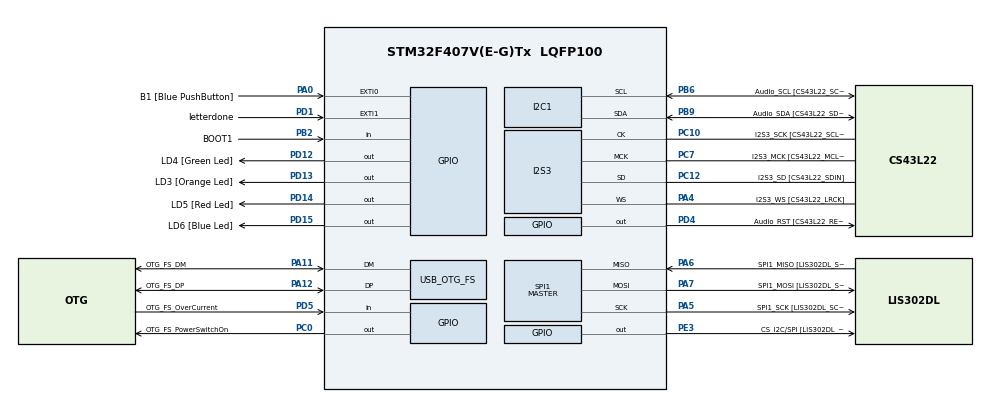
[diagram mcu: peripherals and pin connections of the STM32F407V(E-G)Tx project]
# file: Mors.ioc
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I2S3.AudioFreq-Half_Duplex_Master=I2S_AUDIOFREQ_96K
I2S3.ErrorAudioFreq=-2.34 %
I2S3.ErrorAudioFreq-Half_Duplex_Master=0.8 %
I2S3.FullDuplexMode=I2S_FULLDUPLEXMODE_DISABLE
I2S3.Instance=SPI$Index
I2S3.RealAudioFreq=93.75 KHz
I2S3.RealAudioFreq-Half_Duplex_Master=96.774 KHz
I2S3.VirtualMode=I2S_MODE_MASTER
Mcu.Family=STM32F4
Mcu.Name=STM32F407V(E-G)Tx
Mcu.Package=LQFP100
NVIC.EXTI0_IRQn=true\:0\:0\:false\:false\:true\:true\:true\:true
NVIC.EXTI1_IRQn=true\:0\:0\:false\:false\:true\:true\:true\:true
NVIC.OTG_FS_IRQn=true\:0\:0\:false\:false\:true\:true\:true\:true
NVIC.PriorityGroup=NVIC_PRIORITYGROUP_0
NVIC.TIM6_DAC_IRQn=true\:0\:0\:false\:false\:true\:true\:true\:true
PA0-WKUP.GPIO_Label=B1 [Blue PushButton]
PA0-WKUP.GPIO_ModeDefaultEXTI=GPIO_MODE_IT_RISING_FALLING
PA0-WKUP.GPIO_PuPd=GPIO_NOPULL
PA0-WKUP.Signal=GPXTI0
PA10.GPIO_Label=OTG_FS_ID
PA10.GPIO_Mode=GPIO_MODE_AF_PP
PA10.GPIO_PuPd=GPIO_NOPULL
PA10.GPIO_Speed=GPIO_SPEED_FREQ_LOW
PA10.Signal=USB_OTG_FS_ID
PA11.GPIO_Label=OTG_FS_DM
PA11.GPIO_Mode=GPIO_MODE_AF_PP
PA11.GPIO_PuPd=GPIO_NOPULL
PA11.GPIO_Speed=GPIO_SPEED_FREQ_LOW
PA11.Mode=Device_Only
PA11.Signal=USB_OTG_FS_DM
PA12.GPIO_Label=OTG_FS_DP
PA12.GPIO_Mode=GPIO_MODE_AF_PP
PA12.GPIO_PuPd=GPIO_NOPULL
PA12.GPIO_Speed=GPIO_SPEED_FREQ_LOW
PA12.Mode=Device_Only
PA12.Signal=USB_OTG_FS_DP
PA13.GPIO_Label=SWDIO
PA13.Mode=Serial_Wire
PA13.Signal=SYS_JTMS-SWDIO
PA14.GPIO_Label=SWCLK
PA14.Mode=Serial_Wire
PA14.Signal=SYS_JTCK-SWCLK
PA4.GPIO_Label=I2S3_WS [CS43L22_LRCK]
PA4.GPIO_Mode=GPIO_MODE_AF_PP
PA4.GPIO_PuPd=GPIO_NOPULL
PA4.GPIO_Speed=GPIO_SPEED_FREQ_LOW
PA4.Mode=Half_Duplex_Master
PA4.Signal=I2S3_WS
PA5.GPIO_Label=SPI1_SCK [LIS302DL_SCL/SPC]
PA5.GPIO_Mode=GPIO_MODE_AF_PP
PA5.GPIO_PuPd=GPIO_NOPULL
PA5.GPIO_Speed=GPIO_SPEED_FREQ_LOW
PA5.Mode=Full_Duplex_Master
PA5.Signal=SPI1_SCK
PA6.GPIO_Label=SPI1_MISO [LIS302DL_SDO]
PA6.GPIO_Mode=GPIO_MODE_AF_PP
PA6.GPIO_PuPd=GPIO_NOPULL
PA6.GPIO_Speed=GPIO_SPEED_FREQ_LOW
PA6.Mode=Full_Duplex_Master
PA6.Signal=SPI1_MISO
PA7.GPIO_Label=SPI1_MOSI [LIS302DL_SDA/SDI/SDO]
PA7.GPIO_Mode=GPIO_MODE_AF_PP
PA7.GPIO_PuPd=GPIO_NOPULL
PA7.GPIO_Speed=GPIO_SPEED_FREQ_LOW
PA7.Mode=Full_Duplex_Master
PA7.Signal=SPI1_MOSI
PA9.GPIO_Label=VBUS_FS
PA9.GPIO_Mode=GPIO_MODE_INPUT
PA9.GPIO_PuPd=GPIO_NOPULL
PA9.Signal=USB_OTG_FS_VBUS
PB10.GPIO_Label=CLK_IN [MP45DT02_CLK]
PB10.GPIO_Mode=GPIO_MODE_AF_PP
PB10.GPIO_PuPd=GPIO_NOPULL
PB10.GPIO_Speed=GPIO_SPEED_FREQ_LOW
PB10.Signal=I2S2_CK
PB2.GPIO_Label=BOOT1
PB2.GPIO_Mode=GPIO_MODE_INPUT
PB2.GPIO_PuPd=GPIO_NOPULL
PB2.Signal=GPIO_Input
PB3.GPIO_Label=SWO
PB3.Signal=SYS_JTDO-SWO
PB6.GPIO_Label=Audio_SCL [CS43L22_SCL]
PB6.GPIO_Mode=GPIO_MODE_AF_OD
PB6.GPIO_Pu=GPIO_PULLUP
PB6.GPIO_PuPd=GPIO_NOPULL
PB6.GPIO_Speed=GPIO_SPEED_FREQ_LOW
PB6.Mode=I2C
PB6.Signal=I2C1_SCL
PB9.GPIO_Label=Audio_SDA [CS43L22_SDA]
PB9.GPIO_Mode=GPIO_MODE_AF_OD
PB9.GPIO_Pu=GPIO_PULLUP
PB9.GPIO_PuPd=GPIO_NOPULL
PB9.GPIO_Speed=GPIO_SPEED_FREQ_LOW
PB9.Mode=I2C
PB9.Signal=I2C1_SDA
PC0.GPIO_Label=OTG_FS_PowerSwitchOn
PC0.GPIO_PuPd=GPIO_NOPULL
PC0.GPIO_Speed=GPIO_SPEED_FREQ_LOW
PC0.PinState=GPIO_PIN_SET
PC0.Signal=GPIO_Output
PC10.GPIO_Label=I2S3_SCK [CS43L22_SCLK]
PC10.GPIO_Mode=GPIO_MODE_AF_PP
PC10.GPIO_PuPd=GPIO_NOPULL
PC10.GPIO_Speed=GPIO_SPEED_FREQ_LOW
PC10.Mode=Half_Duplex_Master
PC10.Signal=I2S3_CK
PC12.GPIO_Label=I2S3_SD [CS43L22_SDIN]
PC12.GPIO_Mode=GPIO_MODE_AF_PP
PC12.GPIO_PuPd=GPIO_NOPULL
PC12.GPIO_Speed=GPIO_SPEED_FREQ_LOW
PC12.Mode=Half_Duplex_Master
PC12.Signal=I2S3_SD
PC14-OSC32_IN.GPIO_Label=PC14-OSC32_IN
PC14-OSC32_IN.Mode=LSE-External-Oscillator
PC14-OSC32_IN.Signal=RCC_OSC32_IN
PC15-OSC32_OUT.GPIO_Label=PC15-OSC32_OUT
PC15-OSC32_OUT.Mode=LSE-External-Oscillator
PC15-OSC32_OUT.Signal=RCC_OSC32_OUT
PC3.GPIO_Label=PDM_OUT [MP45DT02_DOUT]
PC3.GPIO_Mode=GPIO_MODE_AF_PP
PC3.GPIO_PuPd=GPIO_NOPULL
PC3.GPIO_Speed=GPIO_SPEED_FREQ_LOW
PC3.Signal=I2S2_SD
PC7.GPIO_Label=I2S3_MCK [CS43L22_MCLK]
PC7.GPIO_Mode=GPIO_MODE_AF_PP
PC7.GPIO_PuPd=GPIO_NOPULL
PC7.GPIO_Speed=GPIO_SPEED_FREQ_LOW
PC7.Mode=Master_Clock_Activated
PC7.Signal=I2S3_MCK
PD1.GPIO_Label=letterdone
PD1.GPIO_ModeDefaultEXTI=GPIO_MODE_IT_RISING_FALLING
PD1.Signal=GPXTI1
PD12.GPIO_Label=LD4 [Green Led]
PD12.GPIO_PuPd=GPIO_NOPULL
PD12.GPIO_Speed=GPIO_SPEED_FREQ_LOW
PD12.Signal=GPIO_Output
PD13.GPIO_Label=LD3 [Orange Led]
PD13.GPIO_PuPd=GPIO_NOPULL
PD13.GPIO_Speed=GPIO_SPEED_FREQ_LOW
PD13.Signal=GPIO_Output
PD14.GPIO_Label=LD5 [Red Led]
PD14.GPIO_PuPd=GPIO_NOPULL
PD14.GPIO_Speed=GPIO_SPEED_FREQ_LOW
PD14.Signal=GPIO_Output
PD15.GPIO_Label=LD6 [Blue Led]
PD15.GPIO_PuPd=GPIO_NOPULL
PD15.GPIO_Speed=GPIO_SPEED_FREQ_LOW
PD15.Signal=GPIO_Output
PD4.GPIO_Label=Audio_RST [CS43L22_RESET]
PD4.GPIO_PuPd=GPIO_NOPULL
PD4.GPIO_Speed=GPIO_SPEED_FREQ_LOW
PD4.Signal=GPIO_Output
PD5.GPIO_Label=OTG_FS_OverCurrent
PD5.GPIO_Mode=GPIO_MODE_INPUT
PD5.GPIO_PuPd=GPIO_NOPULL
PD5.Signal=GPIO_Input
PE3.GPIO_Label=CS_I2C/SPI [LIS302DL_CS_I2C/SPI]
PE3.GPIO_PuPd=GPIO_NOPULL
PE3.GPIO_Speed=GPIO_SPEED_FREQ_LOW
PE3.Signal=GPIO_Output
PH0-OSC_IN.GPIO_Label=PH0-OSC_IN
PH0-OSC_IN.Mode=HSE-External-Oscillator
PH0-OSC_IN.Signal=RCC_OSC_IN
PH1-OSC_OUT.GPIO_Label=PH1-OSC_OUT
PH1-OSC_OUT.Mode=HSE-External-Oscillator
PH1-OSC_OUT.Signal=RCC_OSC_OUT
ProjectManager.HeapSize=0x200
ProjectManager.StackSize=0x400
ProjectManager.TargetToolchain=STM32CubeIDE
RCC.48MHZClocksFreq_Value=48000000
RCC.AHBFreq_Value=168000000
RCC.APB1CLKDivider=RCC_HCLK_DIV4
RCC.APB1Freq_Value=42000000
RCC.APB1TimFreq_Value=84000000
RCC.APB2CLKDivider=RCC_HCLK_DIV2
RCC.APB2Freq_Value=84000000
RCC.APB2TimFreq_Value=168000000
RCC.CortexFreq_Value=168000000
RCC.HCLKFreq_Value=168000000
RCC.HSE_VALUE=8000000
RCC.HSI_VALUE=16000000
RCC.PLLM=8
RCC.PLLN=336
RCC.PLLQ=7
RCC.SYSCLKFreq_VALUE=168000000
RCC.SYSCLKSource=RCC_SYSCLKSOURCE_PLLCLK
RCC.VCOOutputFreq_Value=336000000
SPI1.BaudRatePrescaler-Full_Duplex_Master=SPI_BAUDRATEPRESCALER_2
SPI1.CalculateBaudRate-Full_Duplex_Master=42.0 MBits/s
SPI1.Direction=SPI_DIRECTION_2LINES
SPI1.Mode=SPI_MODE_MASTER
SPI1.Mode-Full_Duplex_Master=SPI_MODE_MASTER
SPI1.VirtualType=VM_MASTER
TIM6.Period=650
TIM6.Prescaler=48000
TIM7.Period=17500
TIM7.Prescaler=47999
USB_DEVICE.CLASS_NAME_FS=CDC
USB_DEVICE.VirtualMode-CDC_FS=Cdc
USB_DEVICE.VirtualModeFS=Cdc_FS
USB_OTG_FS.VirtualMode=Device_Only
VP_TIM6_VS_ClockSourceINT.Mode=Enable_Timer
VP_TIM7_VS_ClockSourceINT.Mode=Enable_Timer
VP_USB_DEVICE_VS_USB_DEVICE_CDC_FS.Mode=CDC_FS
board=STM32F407G-DISC1

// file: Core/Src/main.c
/* USER CODE BEGIN Header */
/**
  ******************************************************************************
  * @file           : main.c
  * @brief          : Main program body
  ******************************************************************************
  * @attention
  *
  * Copyright (c) 2022 STMicroelectronics.
  * All rights reserved.
  *
  * This software is licensed under terms that can be found in the LICENSE file
  * in the root directory of this software component.
  * If no LICENSE file comes with this software, it is provided AS-IS.
  *
  ******************************************************************************
  */
/* USER CODE END Header */
#include "main.h"
#include "usb_device.h"

/* USER CODE BEGIN Includes */
#include "usbd_cdc_if.h"
#include <string.h>
/* USER CODE END Includes */

/* USER CODE BEGIN PD */
#define dot '.'
#define dash '_'
/* USER CODE END PD */

I2C_HandleTypeDef hi2c1;

I2S_HandleTypeDef hi2s3;

SPI_HandleTypeDef hspi1;

TIM_HandleTypeDef htim6;
TIM_HandleTypeDef htim7;

/* USER CODE BEGIN PV */
char *morscode[]={"_...",".","._..","__","._.","_",".__","_.__",".____","..___","...__","...._",".....","_....","__...","___..","____.","_____"};
char *symbols[]={"B","E","L","M","R","T","U","1","2","3","4","5","6","7","8","9","0"};
char number[6], number_save[6];
char *finished[1];
uint32_t press_time;
int press,bounce,done,start;
/* USER CODE END PV */

void SystemClock_Config(void);
static void MX_GPIO_Init(void);
static void MX_I2C1_Init(void);
static void MX_I2S3_Init(void);
static void MX_SPI1_Init(void);
static void MX_TIM6_Init(void);
static void MX_TIM7_Init(void);

/* USER CODE BEGIN 0 */
void delay(int unit)
{
	for(int x=0x3*unit*0xFDEAF;x!=0;x--){}
}
void decoder()
{
	if(number[0]!='\0')
		strcpy(number_save,number);
	for(int i=0;i<36;i++)
	{
		if(!strcmp(number,morscode[i]))
		{
			finished[0]=symbols[i];
		}
	}
}
void mors(uint32_t timer)
{
	if(200 < timer && timer < 500)
	{
		HAL_GPIO_WritePin(GPIOD, LD6_Pin,0);
		HAL_GPIO_WritePin(GPIOD, LD5_Pin,1);
		number[press]=dot;
		press++;
	}
	else if(499 < timer)
	{
		HAL_GPIO_WritePin(GPIOD, LD6_Pin,1);
		HAL_GPIO_WritePin(GPIOD, LD5_Pin,0);
		number[press]=dash;
		press++;
	}
}
void mors_blink()
{
	if((done||press==5)&&start)
	{
		CDC_Transmit_FS((uint8_t*)*finished, strlen(*finished));
		for(int i=0;i<5;i++)
			number[i]='\0';
		HAL_GPIO_WritePin(GPIOD, LD5_Pin,0);
		HAL_GPIO_WritePin(GPIOD, LD6_Pin,0);
		for(int i=0;number_save[i]!='\0';i++)
		{
			switch(number_save[i])
			{
			  	case dot:
		  	  			HAL_GPIO_WritePin(GPIOD, LD3_Pin, 1);
		  	  			delay(0x1);
			  	  		HAL_GPIO_WritePin(GPIOD, LD3_Pin, 0);
			  	  		delay(0x1);
			  	  		break;
			  	 case dash:
						  HAL_GPIO_WritePin(GPIOD, LD3_Pin, 1);
						  delay(0x3);
					      HAL_GPIO_WritePin(GPIOD, LD3_Pin, 0);
						  delay(0x3);
						  break;
			  	 default:
			  	  		 break;
			}
		}
		delay(0x1);
		press=0;
	}
	done=0;
}

/* USER CODE END 0 */

int main(void)
{
  /* USER CODE BEGIN 1 */
	press=0;
  /* USER CODE END 1 */

  /* MCU Configuration--------------------------------------------------------*/

  /* Reset of all peripherals, Initializes the Flash interface and the Systick. */
  HAL_Init();

  /* Configure the system clock */
  SystemClock_Config();

  /* Initialize all configured peripherals */
  MX_GPIO_Init();
  MX_I2C1_Init();
  MX_I2S3_Init();
  MX_SPI1_Init();
  MX_USB_DEVICE_Init();
  MX_TIM6_Init();
  MX_TIM7_Init();
  /* USER CODE BEGIN 2 */
  HAL_TIM_Base_Start(&htim7);
  /* USER CODE END 2 */

  /* Infinite loop */
  while (1)
  {

  }
}

void SystemClock_Config(void)
{
  RCC_OscInitTypeDef RCC_OscInitStruct = {0};
  RCC_ClkInitTypeDef RCC_ClkInitStruct = {0};

  /** Configure the main internal regulator output voltage

  RCC_OscInitStruct.OscillatorType = RCC_OSCILLATORTYPE_HSE;
  RCC_OscInitStruct.HSEState = RCC_HSE_ON;
  RCC_OscInitStruct.PLL.PLLState = RCC_PLL_ON;
  RCC_OscInitStruct.PLL.PLLSource = RCC_PLLSOURCE_HSE;
  RCC_OscInitStruct.PLL.PLLM = 8;
  RCC_OscInitStruct.PLL.PLLN = 336;
  RCC_OscInitStruct.PLL.PLLP = RCC_PLLP_DIV2;
  RCC_OscInitStruct.PLL.PLLQ = 7;
  if (HAL_RCC_OscConfig(&RCC_OscInitStruct) != HAL_OK)
  {
    Error_Handler();
  }

  /** Initializes the CPU, AHB and APB buses clocks
  */
  RCC_ClkInitStruct.ClockType = RCC_CLOCKTYPE_HCLK|RCC_CLOCKTYPE_SYSCLK
                              |RCC_CLOCKTYPE_PCLK1|RCC_CLOCKTYPE_PCLK2;
  RCC_ClkInitStruct.SYSCLKSource = RCC_SYSCLKSOURCE_PLLCLK;
  RCC_ClkInitStruct.AHBCLKDivider = RCC_SYSCLK_DIV1;
  RCC_ClkInitStruct.APB1CLKDivider = RCC_HCLK_DIV4;
  RCC_ClkInitStruct.APB2CLKDivider = RCC_HCLK_DIV2;

  if (HAL_RCC_ClockConfig(&RCC_ClkInitStruct, FLASH_LATENCY_5) != HAL_OK)
  {
    Error_Handler();
  }
}

static void MX_I2C1_Init(void)
{

  hi2c1.Instance = I2C1;
  hi2c1.Init.ClockSpeed = 100000;
  hi2c1.Init.DutyCycle = I2C_DUTYCYCLE_2;
  hi2c1.Init.OwnAddress1 = 0;
  hi2c1.Init.AddressingMode = I2C_ADDRESSINGMODE_7BIT;
  hi2c1.Init.DualAddressMode = I2C_DUALADDRESS_DISABLE;
  hi2c1.Init.OwnAddress2 = 0;
  hi2c1.Init.GeneralCallMode = I2C_GENERALCALL_DISABLE;
  hi2c1.Init.NoStretchMode = I2C_NOSTRETCH_DISABLE;
  if (HAL_I2C_Init(&hi2c1) != HAL_OK)
  {
    Error_Handler();
  }

}

static void MX_I2S3_Init(void)
{

  hi2s3.Instance = SPI3;
  hi2s3.Init.Mode = I2S_MODE_MASTER_TX;
  hi2s3.Init.Standard = I2S_STANDARD_PHILIPS;
  hi2s3.Init.DataFormat = I2S_DATAFORMAT_16B;
  hi2s3.Init.MCLKOutput = I2S_MCLKOUTPUT_ENABLE;
  hi2s3.Init.AudioFreq = I2S_AUDIOFREQ_96K;
  hi2s3.Init.CPOL = I2S_CPOL_LOW;
  hi2s3.Init.ClockSource = I2S_CLOCK_PLL;
  hi2s3.Init.FullDuplexMode = I2S_FULLDUPLEXMODE_DISABLE;
  if (HAL_I2S_Init(&hi2s3) != HAL_OK)
  {
    Error_Handler();
  }

}

static void MX_SPI1_Init(void)
{

  hspi1.Instance = SPI1;
  hspi1.Init.Mode = SPI_MODE_MASTER;
  hspi1.Init.Direction = SPI_DIRECTION_2LINES;
  hspi1.Init.DataSize = SPI_DATASIZE_8BIT;
  hspi1.Init.CLKPolarity = SPI_POLARITY_LOW;
  hspi1.Init.CLKPhase = SPI_PHASE_1EDGE;
  hspi1.Init.NSS = SPI_NSS_SOFT;
  hspi1.Init.BaudRatePrescaler = SPI_BAUDRATEPRESCALER_2;
  hspi1.Init.FirstBit = SPI_FIRSTBIT_MSB;
  hspi1.Init.TIMode = SPI_TIMODE_DISABLE;
  hspi1.Init.CRCCalculation = SPI_CRCCALCULATION_DISABLE;
  hspi1.Init.CRCPolynomial = 10;
  if (HAL_SPI_Init(&hspi1) != HAL_OK)
  {
    Error_Handler();
  }

}

static void MX_TIM6_Init(void)
{

  TIM_MasterConfigTypeDef sMasterConfig = {0};

  htim6.Instance = TIM6;
  htim6.Init.Prescaler = 48000;
  htim6.Init.CounterMode = TIM_COUNTERMODE_UP;
  htim6.Init.Period = 650;
  htim6.Init.AutoReloadPreload = TIM_AUTORELOAD_PRELOAD_DISABLE;
  if (HAL_TIM_Base_Init(&htim6) != HAL_OK)
  {
    Error_Handler();
  }
  sMasterConfig.MasterOutputTrigger = TIM_TRGO_RESET;
  sMasterConfig.MasterSlaveMode = TIM_MASTERSLAVEMODE_DISABLE;
  if (HAL_TIMEx_MasterConfigSynchronization(&htim6, &sMasterConfig) != HAL_OK)
  {
    Error_Handler();
  }

}

static void MX_TIM7_Init(void)
{

  TIM_MasterConfigTypeDef sMasterConfig = {0};

  htim7.Instance = TIM7;
  htim7.Init.Prescaler = 47999;
  htim7.Init.CounterMode = TIM_COUNTERMODE_UP;
  htim7.Init.Period = 17500;
  htim7.Init.AutoReloadPreload = TIM_AUTORELOAD_PRELOAD_DISABLE;
  if (HAL_TIM_Base_Init(&htim7) != HAL_OK)
  {
    Error_Handler();
  }
  sMasterConfig.MasterOutputTrigger = TIM_TRGO_RESET;
  sMasterConfig.MasterSlaveMode = TIM_MASTERSLAVEMODE_DISABLE;
  if (HAL_TIMEx_MasterConfigSynchronization(&htim7, &sMasterConfig) != HAL_OK)
  {
    Error_Handler();
  }

}

static void MX_GPIO_Init(void)
{
  GPIO_InitTypeDef GPIO_InitStruct = {0};

  /* GPIO Ports Clock Enable */
  __HAL_RCC_GPIOE_CLK_ENABLE();
  __HAL_RCC_GPIOC_CLK_ENABLE();
  __HAL_RCC_GPIOH_CLK_ENABLE();
  __HAL_RCC_GPIOA_CLK_ENABLE();
  __HAL_RCC_GPIOB_CLK_ENABLE();
  __HAL_RCC_GPIOD_CLK_ENABLE();

  /*Configure GPIO pin Output Level */
  HAL_GPIO_WritePin(CS_I2C_SPI_GPIO_Port, CS_I2C_SPI_Pin, GPIO_PIN_RESET);

  /*Configure GPIO pin Output Level */
  HAL_GPIO_WritePin(OTG_FS_PowerSwitchOn_GPIO_Port, OTG_FS_PowerSwitchOn_Pin, GPIO_PIN_SET);

  /*Configure GPIO pin Output Level */
  HAL_GPIO_WritePin(GPIOD, LD4_Pin|LD3_Pin|LD5_Pin|LD6_Pin
                          |Audio_RST_Pin, GPIO_PIN_RESET);

  /*Configure GPIO pin : CS_I2C_SPI_Pin */
  GPIO_InitStruct.Pin = CS_I2C_SPI_Pin;
  GPIO_InitStruct.Mode = GPIO_MODE_OUTPUT_PP;
  GPIO_InitStruct.Pull = GPIO_NOPULL;
  GPIO_InitStruct.Speed = GPIO_SPEED_FREQ_LOW;
  HAL_GPIO_Init(CS_I2C_SPI_GPIO_Port, &GPIO_InitStruct);

  /*Configure GPIO pin : OTG_FS_PowerSwitchOn_Pin */
  GPIO_InitStruct.Pin = OTG_FS_PowerSwitchOn_Pin;
  GPIO_InitStruct.Mode = GPIO_MODE_OUTPUT_PP;
  GPIO_InitStruct.Pull = GPIO_NOPULL;
  GPIO_InitStruct.Speed = GPIO_SPEED_FREQ_LOW;
  HAL_GPIO_Init(OTG_FS_PowerSwitchOn_GPIO_Port, &GPIO_InitStruct);

  /*Configure GPIO pin : PDM_OUT_Pin */
  GPIO_InitStruct.Pin = PDM_OUT_Pin;
  GPIO_InitStruct.Mode = GPIO_MODE_AF_PP;
  GPIO_InitStruct.Pull = GPIO_NOPULL;
  GPIO_InitStruct.Speed = GPIO_SPEED_FREQ_LOW;
  GPIO_InitStruct.Alternate = GPIO_AF5_SPI2;
  HAL_GPIO_Init(PDM_OUT_GPIO_Port, &GPIO_InitStruct);

  /*Configure GPIO pin : B1_Pin */
  GPIO_InitStruct.Pin = B1_Pin;
  GPIO_InitStruct.Mode = GPIO_MODE_IT_RISING_FALLING;
  GPIO_InitStruct.Pull = GPIO_NOPULL;
  HAL_GPIO_Init(B1_GPIO_Port, &GPIO_InitStruct);

  /*Configure GPIO pin : BOOT1_Pin */
  GPIO_InitStruct.Pin = BOOT1_Pin;
  GPIO_InitStruct.Mode = GPIO_MODE_INPUT;
  GPIO_InitStruct.Pull = GPIO_NOPULL;
  HAL_GPIO_Init(BOOT1_GPIO_Port, &GPIO_InitStruct);

  /*Configure GPIO pin : CLK_IN_Pin */
  GPIO_InitStruct.Pin = CLK_IN_Pin;
  GPIO_InitStruct.Mode = GPIO_MODE_AF_PP;
  GPIO_InitStruct.Pull = GPIO_NOPULL;
  GPIO_InitStruct.Speed = GPIO_SPEED_FREQ_LOW;
  GPIO_InitStruct.Alternate = GPIO_AF5_SPI2;
  HAL_GPIO_Init(CLK_IN_GPIO_Port, &GPIO_InitStruct);

  /*Configure GPIO pins : LD4_Pin LD3_Pin LD5_Pin LD6_Pin
                           Audio_RST_Pin */
  GPIO_InitStruct.Pin = LD4_Pin|LD3_Pin|LD5_Pin|LD6_Pin
                          |Audio_RST_Pin;
  GPIO_InitStruct.Mode = GPIO_MODE_OUTPUT_PP;
  GPIO_InitStruct.Pull = GPIO_NOPULL;
  GPIO_InitStruct.Speed = GPIO_SPEED_FREQ_LOW;
  HAL_GPIO_Init(GPIOD, &GPIO_InitStruct);

  /*Configure GPIO pin : letterdone_Pin */
  GPIO_InitStruct.Pin = letterdone_Pin;
  GPIO_InitStruct.Mode = GPIO_MODE_IT_RISING_FALLING;
  GPIO_InitStruct.Pull = GPIO_NOPULL;
  HAL_GPIO_Init(letterdone_GPIO_Port, &GPIO_InitStruct);

  /*Configure GPIO pin : OTG_FS_OverCurrent_Pin */
  GPIO_InitStruct.Pin = OTG_FS_OverCurrent_Pin;
  GPIO_InitStruct.Mode = GPIO_MODE_INPUT;
  GPIO_InitStruct.Pull = GPIO_NOPULL;
  HAL_GPIO_Init(OTG_FS_OverCurrent_GPIO_Port, &GPIO_InitStruct);

  /* EXTI interrupt init*/
  HAL_NVIC_SetPriority(EXTI0_IRQn, 0, 0);
  HAL_NVIC_EnableIRQ(EXTI0_IRQn);

  HAL_NVIC_SetPriority(EXTI1_IRQn, 0, 0);
  HAL_NVIC_EnableIRQ(EXTI1_IRQn);

}

/* USER CODE BEGIN 4 */
void HAL_GPIO_EXTI_Callback(uint16_t GPIO_Pin)
{
	HAL_TIM_Base_Start_IT(&htim6);
	if(GPIO_Pin==B1_Pin)
	{
		start=1;
		HAL_GPIO_WritePin(GPIOD, LD5_Pin,0);
		HAL_GPIO_WritePin(GPIOD, LD6_Pin,0);
		if(HAL_GPIO_ReadPin(GPIOA, B1_Pin))
		{//rising edge
			HAL_NVIC_DisableIRQ(EXTI0_IRQn);
			done=0;
			bounce=1;
			TIM7->CNT=0;
			TIM6->CNT=0;
			HAL_GPIO_WritePin(GPIOD, LD4_Pin,1);
		}
		else
		{//falling edge
			HAL_NVIC_DisableIRQ(EXTI0_IRQn);
			bounce=1;
			press_time=TIM7->CNT;
	        HAL_GPIO_WritePin(GPIOD, LD4_Pin,0);
	        if(press<5)
	        	mors(press_time);
	        else
	        	mors_blink();
	        decoder();
			TIM7->CNT=0;
		}
	}
	if(GPIO_Pin==letterdone_Pin)
	{
		if(!(HAL_GPIO_ReadPin(GPIOD, letterdone_Pin)));
		{
			done=0;
			decoder();
			mors_blink();
			start=0;
		}
	}
}
void HAL_TIM_PeriodElapsedCallback(TIM_HandleTypeDef *htim)
{
	if (bounce)
	{
		HAL_NVIC_EnableIRQ(EXTI0_IRQn);
		bounce=0;
	}
}

/* USER CODE END 4 */

void Error_Handler(void)
{
  __disable_irq();
  while (1)
  {
  }
}
